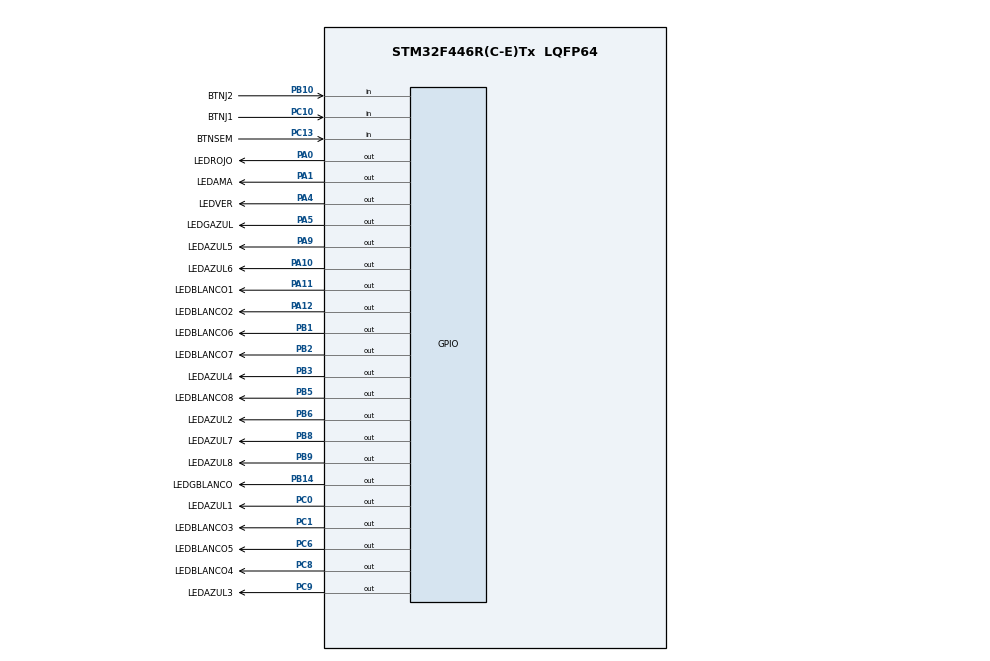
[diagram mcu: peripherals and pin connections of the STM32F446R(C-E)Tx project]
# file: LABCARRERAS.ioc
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Mcu.Family=STM32F4
Mcu.Name=STM32F446R(C-E)Tx
Mcu.Package=LQFP64
NVIC.PriorityGroup=NVIC_PRIORITYGROUP_4
PA0-WKUP.GPIO_Label=LEDROJO
PA0-WKUP.Signal=GPIO_Output
PA1.GPIO_Label=LEDAMA
PA1.Signal=GPIO_Output
PA10.GPIO_Label=LEDAZUL6
PA10.Signal=GPIO_Output
PA11.GPIO_Label=LEDBLANCO1
PA11.Signal=GPIO_Output
PA12.GPIO_Label=LEDBLANCO2
PA12.Signal=GPIO_Output
PA4.GPIO_Label=LEDVER
PA4.Signal=GPIO_Output
PA5.GPIO_Label=LEDGAZUL
PA5.Signal=GPIO_Output
PA9.GPIO_Label=LEDAZUL5
PA9.Signal=GPIO_Output
PB1.GPIO_Label=LEDBLANCO6
PB1.Signal=GPIO_Output
PB10.GPIO_Label=BTNJ2
PB10.GPIO_PuPd=GPIO_PULLUP
PB10.Signal=GPIO_Input
PB14.GPIO_Label=LEDGBLANCO
PB14.Signal=GPIO_Output
PB2.GPIO_Label=LEDBLANCO7
PB2.Signal=GPIO_Output
PB3.GPIO_Label=LEDAZUL4
PB3.Signal=GPIO_Output
PB5.GPIO_Label=LEDBLANCO8
PB5.Signal=GPIO_Output
PB6.GPIO_Label=LEDAZUL2
PB6.Signal=GPIO_Output
PB8.GPIO_Label=LEDAZUL7
PB8.Signal=GPIO_Output
PB9.GPIO_Label=LEDAZUL8
PB9.Signal=GPIO_Output
PC0.GPIO_Label=LEDAZUL1
PC0.Signal=GPIO_Output
PC1.GPIO_Label=LEDBLANCO3
PC1.Signal=GPIO_Output
PC10.GPIO_Label=BTNJ1
PC10.GPIO_PuPd=GPIO_PULLUP
PC10.Signal=GPIO_Input
PC13.GPIO_Label=BTNSEM
PC13.GPIO_PuPd=GPIO_PULLUP
PC13.Signal=GPIO_Input
PC6.GPIO_Label=LEDBLANCO5
PC6.Signal=GPIO_Output
PC8.GPIO_Label=LEDBLANCO4
PC8.Signal=GPIO_Output
PC9.GPIO_Label=LEDAZUL3
PC9.Signal=GPIO_Output
ProjectManager.HeapSize=0x200
ProjectManager.StackSize=0x400
ProjectManager.TargetToolchain=STM32CubeIDE
RCC.CortexFreq_Value=16000000
RCC.USBFreq_Value=96000000
RCC.VCOOutputFreq_Value=192000000
board=custom

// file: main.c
/* USER CODE BEGIN Header */
/**
  ******************************************************************************
  * @file           : main.c
  * @brief          : Main program body
  ******************************************************************************
  * @attention
  *
  * Copyright (c) 2024 STMicroelectronics.
  * All rights reserved.
  *
  * This software is licensed under terms that can be found in the LICENSE file
  * in the root directory of this software component.
  * If no LICENSE file comes with this software, it is provided AS-IS.
  *
  ******************************************************************************
  */
/* USER CODE END Header */
#include "main.h"

int semaforoActivo = 1; // Estado para controlar el semáforo
int ledsAzulesActivos = 0; // Estado para controlar los LEDs azules
int ledsBlancosActivos = 0; // Estado para controlar los LEDs blancos
int ledCounterAzul = 0; // Contador para LEDs azules
int ledCounterBlanco = 0; // Contador para LEDs blancos
int jugadorGanador = 0; // 0: ninguno, 1: jugador 1, 2: jugador 2

void SystemClock_Config(void);
static void MX_GPIO_Init(void);

int main(void)
{

  /* MCU Configuration--------------------------------------------------------*/

  /* Reset of all peripherals, Initializes the Flash interface and the Systick. */
  HAL_Init();

  /* Configure the system clock */
  SystemClock_Config();

  /* Initialize all configured peripherals */
  MX_GPIO_Init();

  /* Infinite loop */
  /* USER CODE BEGIN WHILE */
  while (1) {
	  /* Sección del semáforo */
	          if (semaforoActivo) {
	              if (HAL_GPIO_ReadPin(BTNSEM_GPIO_Port, BTNSEM_Pin) == GPIO_PIN_RESET) {
	                  // Lógica del semáforo
	                  HAL_GPIO_WritePin(LEDROJO_GPIO_Port, LEDROJO_Pin, GPIO_PIN_SET);
	                  HAL_GPIO_WritePin(LEDAMA_GPIO_Port, LEDAMA_Pin, GPIO_PIN_RESET);
	                  HAL_GPIO_WritePin(LEDVER_GPIO_Port, LEDVER_Pin, GPIO_PIN_RESET);
	                  HAL_Delay(2000);

	                  HAL_GPIO_WritePin(LEDROJO_GPIO_Port, LEDROJO_Pin, GPIO_PIN_RESET);
	                  HAL_GPIO_WritePin(LEDAMA_GPIO_Port, LEDAMA_Pin, GPIO_PIN_SET);
	                  HAL_Delay(1500);

	                  HAL_GPIO_WritePin(LEDAMA_GPIO_Port, LEDAMA_Pin, GPIO_PIN_RESET);
	                  HAL_GPIO_WritePin(LEDVER_GPIO_Port, LEDVER_Pin, GPIO_PIN_SET);
	                  HAL_Delay(1500);
	                  HAL_GPIO_WritePin(LEDVER_GPIO_Port, LEDVER_Pin, GPIO_PIN_RESET);

	                  semaforoActivo = 0; // Después de la secuencia, desactivar semáforo
	                  ledsAzulesActivos = 0; // Activar lógica de LEDs azules
	                  ledCounterAzul = 0; // Reiniciar contador de LEDs azules
	                  ledsBlancosActivos = 0; // Activar lógica de LEDs azules
	           	      ledCounterBlanco = 0; // Reiniciar contador de LEDs azules*/
	              }
	              else{
	            	  HAL_GPIO_WritePin(LEDROJO_GPIO_Port, LEDROJO_Pin, GPIO_PIN_RESET);
	            	  HAL_GPIO_WritePin(LEDAMA_GPIO_Port, LEDAMA_Pin, GPIO_PIN_RESET);
	            	  HAL_GPIO_WritePin(LEDVER_GPIO_Port, LEDVER_Pin, GPIO_PIN_RESET);
	            	  HAL_GPIO_WritePin(LEDAZUL1_GPIO_Port, LEDAZUL1_Pin, GPIO_PIN_RESET); HAL_GPIO_WritePin(LEDAZUL2_GPIO_Port, LEDAZUL2_Pin, GPIO_PIN_RESET); HAL_GPIO_WritePin(LEDAZUL3_GPIO_Port, LEDAZUL3_Pin, GPIO_PIN_RESET); HAL_GPIO_WritePin(LEDAZUL4_GPIO_Port, LEDAZUL4_Pin, GPIO_PIN_RESET); HAL_GPIO_WritePin(LEDAZUL5_GPIO_Port, LEDAZUL5_Pin, GPIO_PIN_RESET); HAL_GPIO_WritePin(LEDAZUL6_GPIO_Port, LEDAZUL6_Pin, GPIO_PIN_RESET); HAL_GPIO_WritePin(LEDAZUL7_GPIO_Port, LEDAZUL7_Pin, GPIO_PIN_RESET); HAL_GPIO_WritePin(LEDAZUL8_GPIO_Port, LEDAZUL8_Pin, GPIO_PIN_RESET);HAL_GPIO_WritePin(LEDGAZUL_GPIO_Port, LEDGAZUL_Pin, GPIO_PIN_RESET);

	            	  HAL_GPIO_WritePin(LEDBLANCO1_GPIO_Port, LEDBLANCO1_Pin, GPIO_PIN_RESET); HAL_GPIO_WritePin(LEDBLANCO2_GPIO_Port, LEDBLANCO2_Pin, GPIO_PIN_RESET); HAL_GPIO_WritePin(LEDBLANCO3_GPIO_Port, LEDBLANCO3_Pin, GPIO_PIN_RESET); HAL_GPIO_WritePin(LEDBLANCO4_GPIO_Port, LEDBLANCO4_Pin, GPIO_PIN_RESET); HAL_GPIO_WritePin(LEDBLANCO5_GPIO_Port, LEDBLANCO5_Pin, GPIO_PIN_RESET); HAL_GPIO_WritePin(LEDBLANCO6_GPIO_Port, LEDBLANCO6_Pin, GPIO_PIN_RESET); HAL_GPIO_WritePin(LEDBLANCO7_GPIO_Port, LEDBLANCO7_Pin, GPIO_PIN_RESET); HAL_GPIO_WritePin(LEDBLANCO8_GPIO_Port, LEDBLANCO8_Pin, GPIO_PIN_RESET);HAL_GPIO_WritePin(LEDGBLANCO_GPIO_Port, LEDGBLANCO_Pin, GPIO_PIN_RESET);

	            	 /* ledsAzulesActivos = 0; // Activar lógica de LEDs azules
	            	  ledCounterAzul = 0; // Reiniciar contador de LEDs azules
	            	  ledsBlancosActivos = 0; // Activar lógica de LEDs azules
	            	  ledCounterBlanco = 0; // Reiniciar contador de LEDs azules*/
	              }
	          }

	          /* Sección de LEDs azules */
	          if (HAL_GPIO_ReadPin(BTNJ1_GPIO_Port, BTNJ1_Pin) == GPIO_PIN_RESET) {
	              HAL_Delay(200); // Para evitar rebotes
	              ledCounterAzul++;

	              // Límite máximo de LEDs encendidos
	              if (ledCounterAzul > 9) {
	                  ledCounterAzul = 9;
	              }

	              // Apagar todos los LEDs azules
	              HAL_GPIO_WritePin(GPIOB, LEDAZUL1_Pin|LEDAZUL2_Pin|LEDAZUL3_Pin|LEDAZUL4_Pin|LEDAZUL5_Pin|LEDAZUL6_Pin|LEDAZUL7_Pin|LEDAZUL8_Pin|LEDGAZUL_Pin, GPIO_PIN_RESET);

	              // Encender LEDs azules según ledCounterAzul
	              switch (ledCounterAzul) {
	                  case 1: HAL_GPIO_WritePin(LEDAZUL1_GPIO_Port, LEDAZUL1_Pin, GPIO_PIN_SET); break;
	                  case 2: HAL_GPIO_WritePin(LEDAZUL1_GPIO_Port, LEDAZUL1_Pin, GPIO_PIN_SET); HAL_GPIO_WritePin(LEDAZUL2_GPIO_Port, LEDAZUL2_Pin, GPIO_PIN_SET); break;
	                  case 3: HAL_GPIO_WritePin(LEDAZUL1_GPIO_Port, LEDAZUL1_Pin, GPIO_PIN_SET); HAL_GPIO_WritePin(LEDAZUL2_GPIO_Port, LEDAZUL2_Pin, GPIO_PIN_SET); HAL_GPIO_WritePin(LEDAZUL3_GPIO_Port, LEDAZUL3_Pin, GPIO_PIN_SET); break;
	                  case 4: HAL_GPIO_WritePin(LEDAZUL1_GPIO_Port, LEDAZUL1_Pin, GPIO_PIN_SET); HAL_GPIO_WritePin(LEDAZUL2_GPIO_Port, LEDAZUL2_Pin, GPIO_PIN_SET); HAL_GPIO_WritePin(LEDAZUL3_GPIO_Port, LEDAZUL3_Pin, GPIO_PIN_SET); HAL_GPIO_WritePin(LEDAZUL4_GPIO_Port, LEDAZUL4_Pin, GPIO_PIN_SET); break;
	                  case 5: HAL_GPIO_WritePin(LEDAZUL1_GPIO_Port, LEDAZUL1_Pin, GPIO_PIN_SET); HAL_GPIO_WritePin(LEDAZUL2_GPIO_Port, LEDAZUL2_Pin, GPIO_PIN_SET); HAL_GPIO_WritePin(LEDAZUL3_GPIO_Port, LEDAZUL3_Pin, GPIO_PIN_SET); HAL_GPIO_WritePin(LEDAZUL4_GPIO_Port, LEDAZUL4_Pin, GPIO_PIN_SET); HAL_GPIO_WritePin(LEDAZUL5_GPIO_Port, LEDAZUL5_Pin, GPIO_PIN_SET); break;
	                  case 6: HAL_GPIO_WritePin(LEDAZUL1_GPIO_Port, LEDAZUL1_Pin, GPIO_PIN_SET); HAL_GPIO_WritePin(LEDAZUL2_GPIO_Port, LEDAZUL2_Pin, GPIO_PIN_SET); HAL_GPIO_WritePin(LEDAZUL3_GPIO_Port, LEDAZUL3_Pin, GPIO_PIN_SET); HAL_GPIO_WritePin(LEDAZUL4_GPIO_Port, LEDAZUL4_Pin, GPIO_PIN_SET); HAL_GPIO_WritePin(LEDAZUL5_GPIO_Port, LEDAZUL5_Pin, GPIO_PIN_SET); HAL_GPIO_WritePin(LEDAZUL6_GPIO_Port, LEDAZUL6_Pin, GPIO_PIN_SET); break;
	                  case 7: HAL_GPIO_WritePin(LEDAZUL1_GPIO_Port, LEDAZUL1_Pin, GPIO_PIN_SET); HAL_GPIO_WritePin(LEDAZUL2_GPIO_Port, LEDAZUL2_Pin, GPIO_PIN_SET); HAL_GPIO_WritePin(LEDAZUL3_GPIO_Port, LEDAZUL3_Pin, GPIO_PIN_SET); HAL_GPIO_WritePin(LEDAZUL4_GPIO_Port, LEDAZUL4_Pin, GPIO_PIN_SET); HAL_GPIO_WritePin(LEDAZUL5_GPIO_Port, LEDAZUL5_Pin, GPIO_PIN_SET); HAL_GPIO_WritePin(LEDAZUL6_GPIO_Port, LEDAZUL6_Pin, GPIO_PIN_SET); HAL_GPIO_WritePin(LEDAZUL7_GPIO_Port, LEDAZUL7_Pin, GPIO_PIN_SET); break;
	                  case 8: HAL_GPIO_WritePin(LEDAZUL1_GPIO_Port, LEDAZUL1_Pin, GPIO_PIN_SET); HAL_GPIO_WritePin(LEDAZUL2_GPIO_Port, LEDAZUL2_Pin, GPIO_PIN_SET); HAL_GPIO_WritePin(LEDAZUL3_GPIO_Port, LEDAZUL3_Pin, GPIO_PIN_SET); HAL_GPIO_WritePin(LEDAZUL4_GPIO_Port, LEDAZUL4_Pin, GPIO_PIN_SET); HAL_GPIO_WritePin(LEDAZUL5_GPIO_Port, LEDAZUL5_Pin, GPIO_PIN_SET); HAL_GPIO_WritePin(LEDAZUL6_GPIO_Port, LEDAZUL6_Pin, GPIO_PIN_SET); HAL_GPIO_WritePin(LEDAZUL7_GPIO_Port, LEDAZUL7_Pin, GPIO_PIN_SET); HAL_GPIO_WritePin(LEDAZUL8_GPIO_Port, LEDAZUL8_Pin, GPIO_PIN_SET); break;
	                  case 9: HAL_GPIO_WritePin(LEDAZUL1_GPIO_Port, LEDAZUL1_Pin, GPIO_PIN_SET); HAL_GPIO_WritePin(LEDAZUL2_GPIO_Port, LEDAZUL2_Pin, GPIO_PIN_SET); HAL_GPIO_WritePin(LEDAZUL3_GPIO_Port, LEDAZUL3_Pin, GPIO_PIN_SET); HAL_GPIO_WritePin(LEDAZUL4_GPIO_Port, LEDAZUL4_Pin, GPIO_PIN_SET); HAL_GPIO_WritePin(LEDAZUL5_GPIO_Port, LEDAZUL5_Pin, GPIO_PIN_SET); HAL_GPIO_WritePin(LEDAZUL6_GPIO_Port, LEDAZUL6_Pin, GPIO_PIN_SET); HAL_GPIO_WritePin(LEDAZUL7_GPIO_Port, LEDAZUL7_Pin, GPIO_PIN_SET); HAL_GPIO_WritePin(LEDAZUL8_GPIO_Port, LEDAZUL8_Pin, GPIO_PIN_SET); HAL_GPIO_WritePin(LEDGAZUL_GPIO_Port, LEDGAZUL_Pin, GPIO_PIN_SET);break;

	              }

	              // Esperar un tiempo antes de leer el botón nuevamente
	              HAL_Delay(200);
	          }

	          /* Sección de LEDs blancos */
	          if (HAL_GPIO_ReadPin(BTNJ2_GPIO_Port, BTNJ2_Pin) == GPIO_PIN_RESET) {
	              HAL_Delay(200); // Para evitar rebotes
	              ledCounterBlanco++;

	              // Límite máximo de LEDs encendidos
	              if (ledCounterBlanco > 9) {
	                  ledCounterBlanco = 9;
	              }

	              // Apagar todos los LEDs blancos
	              HAL_GPIO_WritePin(GPIOB, LEDBLANCO1_Pin|LEDBLANCO2_Pin|LEDBLANCO3_Pin|LEDBLANCO4_Pin|LEDBLANCO5_Pin|LEDBLANCO6_Pin|LEDBLANCO7_Pin|LEDBLANCO8_Pin|LEDGBLANCO_Pin, GPIO_PIN_RESET);

	              // Encender LEDs blancos según ledCounterBlanco
	              switch (ledCounterBlanco) {
	                  case 1: HAL_GPIO_WritePin(LEDBLANCO1_GPIO_Port, LEDBLANCO1_Pin, GPIO_PIN_SET); break;
	                  case 2: HAL_GPIO_WritePin(LEDBLANCO1_GPIO_Port, LEDBLANCO1_Pin, GPIO_PIN_SET); HAL_GPIO_WritePin(LEDBLANCO2_GPIO_Port, LEDBLANCO2_Pin, GPIO_PIN_SET); break;
	                  case 3: HAL_GPIO_WritePin(LEDBLANCO1_GPIO_Port, LEDBLANCO1_Pin, GPIO_PIN_SET); HAL_GPIO_WritePin(LEDBLANCO2_GPIO_Port, LEDBLANCO2_Pin, GPIO_PIN_SET); HAL_GPIO_WritePin(LEDBLANCO3_GPIO_Port, LEDBLANCO3_Pin, GPIO_PIN_SET); break;
	                  case 4: HAL_GPIO_WritePin(LEDBLANCO1_GPIO_Port, LEDBLANCO1_Pin, GPIO_PIN_SET); HAL_GPIO_WritePin(LEDBLANCO2_GPIO_Port, LEDBLANCO2_Pin, GPIO_PIN_SET); HAL_GPIO_WritePin(LEDBLANCO3_GPIO_Port, LEDBLANCO3_Pin, GPIO_PIN_SET); HAL_GPIO_WritePin(LEDBLANCO4_GPIO_Port, LEDBLANCO4_Pin, GPIO_PIN_SET); break;
	                  case 5: HAL_GPIO_WritePin(LEDBLANCO1_GPIO_Port, LEDBLANCO1_Pin, GPIO_PIN_SET); HAL_GPIO_WritePin(LEDBLANCO2_GPIO_Port, LEDBLANCO2_Pin, GPIO_PIN_SET); HAL_GPIO_WritePin(LEDBLANCO3_GPIO_Port, LEDBLANCO3_Pin, GPIO_PIN_SET); HAL_GPIO_WritePin(LEDBLANCO4_GPIO_Port, LEDBLANCO4_Pin, GPIO_PIN_SET); HAL_GPIO_WritePin(LEDBLANCO5_GPIO_Port, LEDBLANCO5_Pin, GPIO_PIN_SET); break;
	                  case 6: HAL_GPIO_WritePin(LEDBLANCO1_GPIO_Port, LEDBLANCO1_Pin, GPIO_PIN_SET); HAL_GPIO_WritePin(LEDBLANCO2_GPIO_Port, LEDBLANCO2_Pin, GPIO_PIN_SET); HAL_GPIO_WritePin(LEDBLANCO3_GPIO_Port, LEDBLANCO3_Pin, GPIO_PIN_SET); HAL_GPIO_WritePin(LEDBLANCO4_GPIO_Port, LEDBLANCO4_Pin, GPIO_PIN_SET); HAL_GPIO_WritePin(LEDBLANCO5_GPIO_Port, LEDBLANCO5_Pin, GPIO_PIN_SET); HAL_GPIO_WritePin(LEDBLANCO6_GPIO_Port, LEDBLANCO6_Pin, GPIO_PIN_SET); break;
	                  case 7: HAL_GPIO_WritePin(LEDBLANCO1_GPIO_Port, LEDBLANCO1_Pin, GPIO_PIN_SET); HAL_GPIO_WritePin(LEDBLANCO2_GPIO_Port, LEDBLANCO2_Pin, GPIO_PIN_SET); HAL_GPIO_WritePin(LEDBLANCO3_GPIO_Port, LEDBLANCO3_Pin, GPIO_PIN_SET); HAL_GPIO_WritePin(LEDBLANCO4_GPIO_Port, LEDBLANCO4_Pin, GPIO_PIN_SET); HAL_GPIO_WritePin(LEDBLANCO5_GPIO_Port, LEDBLANCO5_Pin, GPIO_PIN_SET); HAL_GPIO_WritePin(LEDBLANCO6_GPIO_Port, LEDBLANCO6_Pin, GPIO_PIN_SET); HAL_GPIO_WritePin(LEDBLANCO7_GPIO_Port, LEDBLANCO7_Pin, GPIO_PIN_SET); break;
	                  case 8: HAL_GPIO_WritePin(LEDBLANCO1_GPIO_Port, LEDBLANCO1_Pin, GPIO_PIN_SET); HAL_GPIO_WritePin(LEDBLANCO2_GPIO_Port, LEDBLANCO2_Pin, GPIO_PIN_SET); HAL_GPIO_WritePin(LEDBLANCO3_GPIO_Port, LEDBLANCO3_Pin, GPIO_PIN_SET); HAL_GPIO_WritePin(LEDBLANCO4_GPIO_Port, LEDBLANCO4_Pin, GPIO_PIN_SET); HAL_GPIO_WritePin(LEDBLANCO5_GPIO_Port, LEDBLANCO5_Pin, GPIO_PIN_SET); HAL_GPIO_WritePin(LEDBLANCO6_GPIO_Port, LEDBLANCO6_Pin, GPIO_PIN_SET); HAL_GPIO_WritePin(LEDBLANCO7_GPIO_Port, LEDBLANCO7_Pin, GPIO_PIN_SET); HAL_GPIO_WritePin(LEDBLANCO8_GPIO_Port, LEDBLANCO8_Pin, GPIO_PIN_SET); break;
	                  case 9: HAL_GPIO_WritePin(LEDBLANCO1_GPIO_Port, LEDBLANCO1_Pin, GPIO_PIN_SET); HAL_GPIO_WritePin(LEDBLANCO2_GPIO_Port, LEDBLANCO2_Pin, GPIO_PIN_SET); HAL_GPIO_WritePin(LEDBLANCO3_GPIO_Port, LEDBLANCO3_Pin, GPIO_PIN_SET); HAL_GPIO_WritePin(LEDBLANCO4_GPIO_Port, LEDBLANCO4_Pin, GPIO_PIN_SET); HAL_GPIO_WritePin(LEDBLANCO5_GPIO_Port, LEDBLANCO5_Pin, GPIO_PIN_SET); HAL_GPIO_WritePin(LEDBLANCO6_GPIO_Port, LEDBLANCO6_Pin, GPIO_PIN_SET); HAL_GPIO_WritePin(LEDBLANCO7_GPIO_Port, LEDBLANCO7_Pin, GPIO_PIN_SET); HAL_GPIO_WritePin(LEDBLANCO8_GPIO_Port, LEDBLANCO8_Pin, GPIO_PIN_SET); HAL_GPIO_WritePin(LEDGBLANCO_GPIO_Port, LEDGBLANCO_Pin, GPIO_PIN_SET); break;
	              }

	              // Esperar un tiempo antes de leer el botón nuevamente
	              HAL_Delay(200);
	          }

	      }
	  }

    /* USER CODE END WHILE */

void SystemClock_Config(void)
{
  RCC_OscInitTypeDef RCC_OscInitStruct = {0};
  RCC_ClkInitTypeDef RCC_ClkInitStruct = {0};

  /** Configure the main internal regulator output voltage
  */
  __HAL_RCC_PWR_CLK_ENABLE();
  __HAL_PWR_VOLTAGESCALING_CONFIG(PWR_REGULATOR_VOLTAGE_SCALE3);

  /** Initializes the RCC Oscillators according to the specified parameters
  * in the RCC_OscInitTypeDef structure.
  */
  RCC_OscInitStruct.OscillatorType = RCC_OSCILLATORTYPE_HSI;
  RCC_OscInitStruct.HSIState = RCC_HSI_ON;
  RCC_OscInitStruct.HSICalibrationValue = RCC_HSICALIBRATION_DEFAULT;
  RCC_OscInitStruct.PLL.PLLState = RCC_PLL_NONE;
  if (HAL_RCC_OscConfig(&RCC_OscInitStruct) != HAL_OK)
  {
    Error_Handler();
  }

  /** Initializes the CPU, AHB and APB buses clocks
  */
  RCC_ClkInitStruct.ClockType = RCC_CLOCKTYPE_HCLK|RCC_CLOCKTYPE_SYSCLK
                              |RCC_CLOCKTYPE_PCLK1|RCC_CLOCKTYPE_PCLK2;
  RCC_ClkInitStruct.SYSCLKSource = RCC_SYSCLKSOURCE_HSI;
  RCC_ClkInitStruct.AHBCLKDivider = RCC_SYSCLK_DIV1;
  RCC_ClkInitStruct.APB1CLKDivider = RCC_HCLK_DIV1;
  RCC_ClkInitStruct.APB2CLKDivider = RCC_HCLK_DIV1;

  if (HAL_RCC_ClockConfig(&RCC_ClkInitStruct, FLASH_LATENCY_0) != HAL_OK)
  {
    Error_Handler();
  }
}

static void MX_GPIO_Init(void)
{
  GPIO_InitTypeDef GPIO_InitStruct = {0};

  /* GPIO Ports Clock Enable */
  __HAL_RCC_GPIOC_CLK_ENABLE();
  __HAL_RCC_GPIOA_CLK_ENABLE();
  __HAL_RCC_GPIOB_CLK_ENABLE();

  /*Configure GPIO pin Output Level */
  HAL_GPIO_WritePin(GPIOC, LEDAZUL1_Pin|LEDBLANCO3_Pin|LEDBLANCO5_Pin|LEDBLANCO4_Pin
                          |LEDAZUL3_Pin, GPIO_PIN_RESET);

  /*Configure GPIO pin Output Level */
  HAL_GPIO_WritePin(GPIOA, LEDROJO_Pin|LEDAMA_Pin|LEDVER_Pin|LEDGAZUL_Pin
                          |LEDAZUL5_Pin|LEDAZUL6_Pin|LEDBLANCO1_Pin|LEDBLANCO2_Pin, GPIO_PIN_RESET);

  /*Configure GPIO pin Output Level */
  HAL_GPIO_WritePin(GPIOB, LEDBLANCO6_Pin|LEDBLANCO7_Pin|LEDGBLANCO_Pin|LEDAZUL4_Pin
                          |LEDBLANCO8_Pin|LEDAZUL2_Pin|LEDAZUL7_Pin|LEDAZUL8_Pin, GPIO_PIN_RESET);

  /*Configure GPIO pins : BTNSEM_Pin BTNJ1_Pin */
  GPIO_InitStruct.Pin = BTNSEM_Pin|BTNJ1_Pin;
  GPIO_InitStruct.Mode = GPIO_MODE_INPUT;
  GPIO_InitStruct.Pull = GPIO_PULLUP;
  HAL_GPIO_Init(GPIOC, &GPIO_InitStruct);

  /*Configure GPIO pins : LEDAZUL1_Pin LEDBLANCO3_Pin LEDBLANCO5_Pin LEDBLANCO4_Pin
                           LEDAZUL3_Pin */
  GPIO_InitStruct.Pin = LEDAZUL1_Pin|LEDBLANCO3_Pin|LEDBLANCO5_Pin|LEDBLANCO4_Pin
                          |LEDAZUL3_Pin;
  GPIO_InitStruct.Mode = GPIO_MODE_OUTPUT_PP;
  GPIO_InitStruct.Pull = GPIO_NOPULL;
  GPIO_InitStruct.Speed = GPIO_SPEED_FREQ_LOW;
  HAL_GPIO_Init(GPIOC, &GPIO_InitStruct);

  /*Configure GPIO pins : LEDROJO_Pin LEDAMA_Pin LEDVER_Pin LEDGAZUL_Pin
                           LEDAZUL5_Pin LEDAZUL6_Pin LEDBLANCO1_Pin LEDBLANCO2_Pin */
  GPIO_InitStruct.Pin = LEDROJO_Pin|LEDAMA_Pin|LEDVER_Pin|LEDGAZUL_Pin
                          |LEDAZUL5_Pin|LEDAZUL6_Pin|LEDBLANCO1_Pin|LEDBLANCO2_Pin;
  GPIO_InitStruct.Mode = GPIO_MODE_OUTPUT_PP;
  GPIO_InitStruct.Pull = GPIO_NOPULL;
  GPIO_InitStruct.Speed = GPIO_SPEED_FREQ_LOW;
  HAL_GPIO_Init(GPIOA, &GPIO_InitStruct);

  /*Configure GPIO pins : LEDBLANCO6_Pin LEDBLANCO7_Pin LEDGBLANCO_Pin LEDAZUL4_Pin
                           LEDBLANCO8_Pin LEDAZUL2_Pin LEDAZUL7_Pin LEDAZUL8_Pin */
  GPIO_InitStruct.Pin = LEDBLANCO6_Pin|LEDBLANCO7_Pin|LEDGBLANCO_Pin|LEDAZUL4_Pin
                          |LEDBLANCO8_Pin|LEDAZUL2_Pin|LEDAZUL7_Pin|LEDAZUL8_Pin;
  GPIO_InitStruct.Mode = GPIO_MODE_OUTPUT_PP;
  GPIO_InitStruct.Pull = GPIO_NOPULL;
  GPIO_InitStruct.Speed = GPIO_SPEED_FREQ_LOW;
  HAL_GPIO_Init(GPIOB, &GPIO_InitStruct);

  /*Configure GPIO pin : BTNJ2_Pin */
  GPIO_InitStruct.Pin = BTNJ2_Pin;
  GPIO_InitStruct.Mode = GPIO_MODE_INPUT;
  GPIO_InitStruct.Pull = GPIO_PULLUP;
  HAL_GPIO_Init(BTNJ2_GPIO_Port, &GPIO_InitStruct);

}

void Error_Handler(void)
{
  __disable_irq();
  while (1)
  {
  }
}
